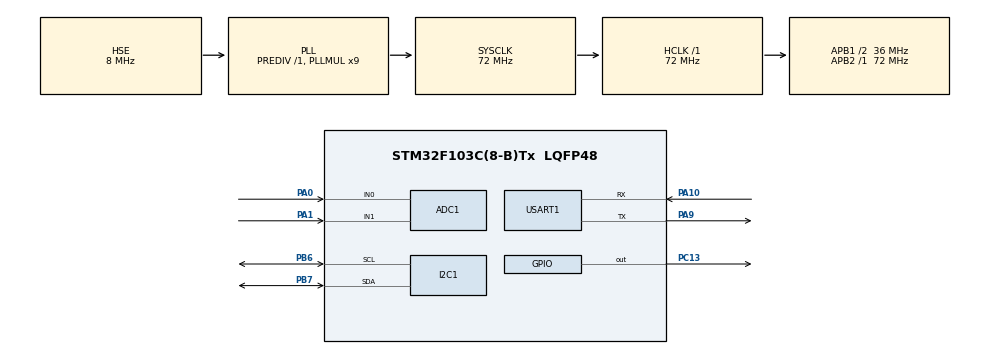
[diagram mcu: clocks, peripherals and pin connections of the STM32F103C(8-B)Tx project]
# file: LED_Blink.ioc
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ADC1.Channel-0\#ChannelRegularConversion=ADC_CHANNEL_0
ADC1.Channel-1\#ChannelRegularConversion=ADC_CHANNEL_1
ADC1.ContinuousConvMode=ENABLE
ADC1.NbrOfConversion=2
ADC1.NbrOfConversionFlag=1
ADC1.Rank-0\#ChannelRegularConversion=1
ADC1.Rank-1\#ChannelRegularConversion=2
ADC1.SamplingTime-0\#ChannelRegularConversion=ADC_SAMPLETIME_1CYCLE_5
ADC1.SamplingTime-1\#ChannelRegularConversion=ADC_SAMPLETIME_1CYCLE_5
ADC1.master=1
Mcu.Family=STM32F1
Mcu.Name=STM32F103C(8-B)Tx
Mcu.Package=LQFP48
NVIC.PriorityGroup=NVIC_PRIORITYGROUP_4
NVIC.USART1_IRQn=true\:0\:0\:false\:false\:true\:true\:true\:true
PA0-WKUP.Signal=ADCx_IN0
PA1.Signal=ADCx_IN1
PA10.Mode=Asynchronous
PA10.Signal=USART1_RX
PA13.Mode=Serial_Wire
PA13.Signal=SYS_JTMS-SWDIO
PA14.Mode=Serial_Wire
PA14.Signal=SYS_JTCK-SWCLK
PA9.Mode=Asynchronous
PA9.Signal=USART1_TX
PB6.Mode=I2C
PB6.Signal=I2C1_SCL
PB7.Mode=I2C
PB7.Signal=I2C1_SDA
PC13-TAMPER-RTC.Signal=GPIO_Output
PD0-OSC_IN.Mode=HSE-External-Oscillator
PD0-OSC_IN.Signal=RCC_OSC_IN
PD1-OSC_OUT.Mode=HSE-External-Oscillator
PD1-OSC_OUT.Signal=RCC_OSC_OUT
ProjectManager.HeapSize=0x200
ProjectManager.StackSize=0x400
ProjectManager.TargetToolchain=STM32CubeIDE
RCC.AHBFreq_Value=72000000
RCC.APB1CLKDivider=RCC_HCLK_DIV2
RCC.APB1Freq_Value=36000000
RCC.APB1TimFreq_Value=72000000
RCC.APB2Freq_Value=72000000
RCC.APB2TimFreq_Value=72000000
RCC.HCLKFreq_Value=72000000
RCC.PLLMUL=RCC_PLL_MUL9
RCC.PLLSourceVirtual=RCC_PLLSOURCE_HSE
RCC.SYSCLKFreq_VALUE=72000000
RCC.SYSCLKSource=RCC_SYSCLKSOURCE_PLLCLK
RCC.USBFreq_Value=72000000
SH.ADCx_IN0.0=ADC1_IN0,IN0
SH.ADCx_IN1.0=ADC1_IN1,IN1
USART1.VirtualMode=VM_ASYNC
board=custom

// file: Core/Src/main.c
/* USER CODE BEGIN Header */
/**
  ******************************************************************************
  * @file           : main.c
  * @brief          : Main program body
  ******************************************************************************
  * @attention
  *
  * Copyright (c) 2026 STMicroelectronics.
  * All rights reserved.
  *
  * This software is licensed under terms that can be found in the LICENSE file
  * in the root directory of this software component.
  * If no LICENSE file comes with this software, it is provided AS-IS.
  *
  ******************************************************************************
  */
/* USER CODE END Header */
#include "main.h"
#include "Drivers/OLED/oled.h"
#include "Drivers/ADC/adc.h"
#include "Drivers/MPU6050/MPU6050.h"
/* USER CODE BEGIN Includes */
#include <stdio.h>
#include <string.h>
#include <math.h>

/* USER CODE END Includes */

ADC_HandleTypeDef hadc1;

I2C_HandleTypeDef hi2c1;

UART_HandleTypeDef huart1;

/* USER CODE BEGIN PV */
uint8_t oled_addr=0x3C; //OLED位址
#define RB_SIZE 64
volatile uint8_t rb_buffer[RB_SIZE];
volatile uint16_t rb_head=0;
volatile uint16_t rb_tail=0;
volatile uint16_t rb_count=0;
uint8_t rx_buffer=0;
int16_t gyro_bias_x=0;
int16_t gyro_bias_y=0;
int16_t gyro_bias_z=0;
/* USER CODE END PV */

void SystemClock_Config(void);
static void MX_GPIO_Init(void);
static void MX_I2C1_Init(void);
static void MX_ADC1_Init(void);
static void MX_USART1_UART_Init(void);
/* USER CODE BEGIN PFP */

void MPU6050_ReadAccel(int16_t *ax, int16_t *ay, int16_t *az);
void MPU6050_ReadGyro(int16_t *gx, int16_t *gy, int16_t *gz);
/* USER CODE END PFP */

/* USER CODE BEGIN 0 */
#define PI 3.14159265f
/*互補濾波*/
#define DT 0.01f
#define ALPHA 0.98f
float roll=0.0f;
float pitch=0.0f;
/*互補濾波*/

volatile uint8_t uart_tx_done = 1;
void HAL_UART_TxCpltCallback(UART_HandleTypeDef *huart)
{
	 if (huart->Instance == USART1)
	    {
	        uart_tx_done = 1;  // 傳送完成，標記為空閒
	    }
}

void UART_SendString(char *str)
	    {
	if (uart_tx_done)  // 只有空閒時才送
	{
		uart_tx_done=0;
	    HAL_UART_Transmit_IT(&huart1, (uint8_t*)str, strlen(str));

	}
	    }

void RB_Push(uint8_t data){
	if(rb_count<RB_SIZE){
		rb_buffer[rb_tail]=data;
		rb_tail=(rb_tail+1)&(RB_SIZE-1);
		rb_count++;
	}
}

int RB_Pop(uint8_t *data){

	if(rb_count>0){
		*data=rb_buffer[rb_head];
		rb_head=(rb_head+1)&(RB_SIZE-1);
		rb_count--;
		return 1;
	}
	return 0;
}

/* USER CODE END 0 */

int main(void)
{

  /* MCU Configuration--------------------------------------------------------*/

  /* Reset of all peripherals, Initializes the Flash interface and the Systick. */
  HAL_Init();

  /* Configure the system clock */
  SystemClock_Config();

  /* Initialize all configured peripherals */
  MX_GPIO_Init();
  MX_I2C1_Init();
  MX_ADC1_Init();
  MX_USART1_UART_Init();
  /* USER CODE BEGIN 2 */

  if (oled_addr != 0xFF)
  {
      OLED_Init();           // 初始化 OLED

   HAL_GPIO_WritePin(GPIOC, GPIO_PIN_13, GPIO_PIN_RESET);
        HAL_Delay(100);
        HAL_GPIO_WritePin(GPIOC, GPIO_PIN_13, GPIO_PIN_SET);
        HAL_Delay(100);
      HAL_GPIO_WritePin(GPIOC, GPIO_PIN_13, GPIO_PIN_RESET);
        HAL_Delay(100);
   HAL_GPIO_WritePin(GPIOC, GPIO_PIN_13, GPIO_PIN_SET);

        // ★ 清除後閃3下代表清除完成
        for (int i=0; i<3; i++)
        {
      //      HAL_GPIO_WritePin(GPIOC, GPIO_PIN_13, GPIO_PIN_RESET);
            HAL_Delay(200);
          //  HAL_GPIO_WritePin(GPIOC, GPIO_PIN_13, GPIO_PIN_SET);
            HAL_Delay(200);
        }

      OLED_Clear();          //清除螢幕全暗
  }

  __HAL_UART_ENABLE_IT(&huart1, UART_IT_RXNE);   // 啟用接收中斷
  HAL_NVIC_SetPriority(USART1_IRQn, 1, 0);       // 設定優先級（1，低於 EXTI0）
  HAL_NVIC_EnableIRQ(USART1_IRQn);               // 在 NVIC 中啟用 USART1 中斷
  HAL_UART_Receive_IT(&huart1, &rx_buffer, 1);   // 啟動接收

  // ===  I2C 掃描器（UART 版） ===
  char scan_msg[50];
  UART_SendString("\r\n=== I2C Scanner Start ===\r\n");

  for (uint8_t addr=0x08;addr<=0x77;addr++)
  {
      // HAL 的地址要左移 1 位（7-bit 轉 8-bit）
      if (HAL_I2C_IsDeviceReady(&hi2c1,(addr<<1),1,100)==HAL_OK)
      {
          sprintf(scan_msg,"Device found at 0x%02X\r\n",addr);
          UART_SendString(scan_msg);
      }
  }
  //   I2C 掃描器（結束） //
  //   讀取who am I 喚醒 MPU6050  //

  uint8_t who_am_i = 0;

  HAL_I2C_Mem_Read(&hi2c1, 0x68 << 1, 0x75, I2C_MEMADD_SIZE_8BIT, &who_am_i, 1, 100);

  sprintf(scan_msg, "WHO_AM_I = 0x%02X\r\n", who_am_i);
  UART_SendString(scan_msg);

  if (who_am_i == 0x68)
  {
      UART_SendString("MPU6050 found! (WHO_AM_I correct)\r\n");

      //  加入延遲，讓晶片穩定
      HAL_Delay(100);

      // 喚醒 MPU6050
      uint8_t wake_cmd = 0x00;
      HAL_StatusTypeDef status = HAL_I2C_Mem_Write(&hi2c1, 0x68 << 1, 0x6B, I2C_MEMADD_SIZE_8BIT, &wake_cmd, 1, 100);

      // 檢查寫入是否成功
      if (status == HAL_OK)
      {
          UART_SendString("MPU6050 woken up! (write success)\r\n");
      }
      else
      {
          UART_SendString("MPU6050 wake up FAILED! (I2C error)\r\n");
      }
  }
  else
  {
      UART_SendString("MPU6050 NOT found! (WHO_AM_I error)\r\n");
  }
//  讀取who am I 喚醒 MPU6050結束 //
  //  原本的 OLED 初始化 //
  if (oled_addr != 0xFF)
  {
      OLED_Init();    // 初始化 OLED
  }

/* 陀螺儀校準 */
  UART_SendString("Calibrating Gyro...\r\n");
  MPU6050_CalibrateGyro();
  UART_SendString("Calibration Done!\r\n");
  /* 陀螺儀校準 */
  /* USER CODE END 2 */

  /* Infinite loop */
  while (1)
  {

    /* USER CODE BEGIN 3 */
/* ADC彙整 */
	  uint32_t light_adc=ADC_Read_Channel(ADC_CHANNEL_0);

/*     光敏/熱敏      */
	    uint32_t temp_adc=ADC_Read_Channel(ADC_CHANNEL_1);
	      float temperature=Thermistor_GetTemperature(temp_adc);

  /* ADC彙整 */
  /* TTL  */

 uint8_t received_byte;
   if (RB_Pop(&received_byte))
   {
       // ★ 加入這 4 行：成功取出資料時，LED 閃爍 2 下
       for (int i = 0; i < 2; i++)
       {
           HAL_GPIO_TogglePin(GPIOC, GPIO_PIN_13);
           HAL_Delay(100);
       }

       // 把資料傳回去（Echo）
       HAL_UART_Transmit(&huart1, &received_byte, 1, 100);
   }
   /* TTL  */
   /*   MPU6050   */
   int16_t ax,ay,az,gx,gy,gz;

   MPU6050_ReadAccel(&ax,&ay,&az);
   MPU6050_ReadGyro(&gx,&gy,&gz);

  /*   MPU6050互補濾波   */

  //換算
float ax_g=ax/16384.0f;
float ay_g=ay/16384.0f;
float az_g=az/16384.0f;

  //陀螺儀
float gyro_x=(gx-gyro_bias_x)/131.0f;
float gyro_y=(gy-gyro_bias_y)/131.0f;
float gyro_z=(gz-gyro_bias_z)/131.0f;
(void)gyro_z;
//加速度計算角度
float accel_roll=atan2(ay_g,az_g)*180.0f/PI;
float accel_pitch=atan2(-ax_g,sqrt(ay_g*ay_g+az_g*az_g))*180.0f/PI;

  //陀螺儀積分
roll+=gyro_x*DT;
pitch+=gyro_y*DT;

    //互補濾波融合
roll=ALPHA*roll+(1.0f-ALPHA)*accel_roll;
pitch=ALPHA*pitch+(1.0f-ALPHA)*accel_pitch;

//輸出
/*//PuTTY測試
  sprintf(msg,"Roll: %7.2f  Pitch: %7.2f\r\n",roll,pitch);

   UART_SendString(msg);

*///PuTTY測試
  /*   MPU6050互補濾波   */
  /*   MPU6050   */

/*OLED*/

/*//PuTTY測試
  float temper = Thermistor_GetTemperature(temp_adc);
float voltage_t = temp_adc * 3.3f / 4096.0f;
char dbg[50];
sprintf(dbg, "ADC: %d,V: %.2fV, Temp: %.1fC\r\n", temp_adc,voltage_t, temper);
UART_SendString(dbg);
*///PuTTY測試

   // 把 roll 和 pitch 拆成「整數部分」和「小數部分」
   char oled_buf[80];
   float brightness=(100-(light_adc/4096.0f)*100.0f);
   sprintf(oled_buf,"Roll: %7.2f\nPitch: %7.2f\nL:%.2f%\nT:%.1fC",roll,pitch,brightness,temperature);
   OLED_Clear();
   OLED_WriteString(oled_buf);

   HAL_Delay(100);
  }//while結尾
  /* USER CODE END 3 */
}

void SystemClock_Config(void)
{
  RCC_OscInitTypeDef RCC_OscInitStruct = {0};
  RCC_ClkInitTypeDef RCC_ClkInitStruct = {0};
  RCC_PeriphCLKInitTypeDef PeriphClkInit = {0};

  /** Initializes the RCC Oscillators according to the specified parameters
  * in the RCC_OscInitTypeDef structure.
  */
  RCC_OscInitStruct.OscillatorType = RCC_OSCILLATORTYPE_HSE;
  RCC_OscInitStruct.HSEState = RCC_HSE_ON;
  RCC_OscInitStruct.HSEPredivValue = RCC_HSE_PREDIV_DIV1;
  RCC_OscInitStruct.HSIState = RCC_HSI_ON;
  RCC_OscInitStruct.PLL.PLLState = RCC_PLL_ON;
  RCC_OscInitStruct.PLL.PLLSource = RCC_PLLSOURCE_HSE;
  RCC_OscInitStruct.PLL.PLLMUL = RCC_PLL_MUL9;
  if (HAL_RCC_OscConfig(&RCC_OscInitStruct) != HAL_OK)
  {
    Error_Handler();
  }

  /** Initializes the CPU, AHB and APB buses clocks
  */
  RCC_ClkInitStruct.ClockType = RCC_CLOCKTYPE_HCLK|RCC_CLOCKTYPE_SYSCLK
                              |RCC_CLOCKTYPE_PCLK1|RCC_CLOCKTYPE_PCLK2;
  RCC_ClkInitStruct.SYSCLKSource = RCC_SYSCLKSOURCE_PLLCLK;
  RCC_ClkInitStruct.AHBCLKDivider = RCC_SYSCLK_DIV1;
  RCC_ClkInitStruct.APB1CLKDivider = RCC_HCLK_DIV2;
  RCC_ClkInitStruct.APB2CLKDivider = RCC_HCLK_DIV1;

  if (HAL_RCC_ClockConfig(&RCC_ClkInitStruct, FLASH_LATENCY_2) != HAL_OK)
  {
    Error_Handler();
  }
  PeriphClkInit.PeriphClockSelection = RCC_PERIPHCLK_ADC;
  PeriphClkInit.AdcClockSelection = RCC_ADCPCLK2_DIV2;
  if (HAL_RCCEx_PeriphCLKConfig(&PeriphClkInit) != HAL_OK)
  {
    Error_Handler();
  }
}

static void MX_ADC1_Init(void)
{

  ADC_ChannelConfTypeDef sConfig = {0};

  /** Common config
  */
  hadc1.Instance = ADC1;
  hadc1.Init.ScanConvMode = ADC_SCAN_ENABLE;
  hadc1.Init.ContinuousConvMode = ENABLE;
  hadc1.Init.DiscontinuousConvMode = DISABLE;
  hadc1.Init.ExternalTrigConv = ADC_SOFTWARE_START;
  hadc1.Init.DataAlign = ADC_DATAALIGN_RIGHT;
  hadc1.Init.NbrOfConversion = 2;
  if (HAL_ADC_Init(&hadc1) != HAL_OK)
  {
    Error_Handler();
  }

  /** Configure Regular Channel
  */
  sConfig.Channel = ADC_CHANNEL_0;
  sConfig.Rank = ADC_REGULAR_RANK_1;
  sConfig.SamplingTime = ADC_SAMPLETIME_1CYCLE_5;
  if (HAL_ADC_ConfigChannel(&hadc1, &sConfig) != HAL_OK)
  {
    Error_Handler();
  }

  /** Configure Regular Channel
  */
  sConfig.Channel = ADC_CHANNEL_1;
  sConfig.Rank = ADC_REGULAR_RANK_2;
  if (HAL_ADC_ConfigChannel(&hadc1, &sConfig) != HAL_OK)
  {
    Error_Handler();
  }

}

static void MX_I2C1_Init(void)
{

  hi2c1.Instance = I2C1;
  hi2c1.Init.ClockSpeed = 100000;
  hi2c1.Init.DutyCycle = I2C_DUTYCYCLE_2;
  hi2c1.Init.OwnAddress1 = 0;
  hi2c1.Init.AddressingMode = I2C_ADDRESSINGMODE_7BIT;
  hi2c1.Init.DualAddressMode = I2C_DUALADDRESS_DISABLE;
  hi2c1.Init.OwnAddress2 = 0;
  hi2c1.Init.GeneralCallMode = I2C_GENERALCALL_DISABLE;
  hi2c1.Init.NoStretchMode = I2C_NOSTRETCH_DISABLE;
  if (HAL_I2C_Init(&hi2c1) != HAL_OK)
  {
    Error_Handler();
  }

}

static void MX_USART1_UART_Init(void)
{

  huart1.Instance = USART1;
  huart1.Init.BaudRate = 115200;
  huart1.Init.WordLength = UART_WORDLENGTH_8B;
  huart1.Init.StopBits = UART_STOPBITS_1;
  huart1.Init.Parity = UART_PARITY_NONE;
  huart1.Init.Mode = UART_MODE_TX_RX;
  huart1.Init.HwFlowCtl = UART_HWCONTROL_NONE;
  huart1.Init.OverSampling = UART_OVERSAMPLING_16;
  if (HAL_UART_Init(&huart1) != HAL_OK)
  {
    Error_Handler();
  }

}

static void MX_GPIO_Init(void)
{
  GPIO_InitTypeDef GPIO_InitStruct = {0};

  /* GPIO Ports Clock Enable */
  __HAL_RCC_GPIOC_CLK_ENABLE();
  __HAL_RCC_GPIOD_CLK_ENABLE();
  __HAL_RCC_GPIOA_CLK_ENABLE();
  __HAL_RCC_GPIOB_CLK_ENABLE();

  /*Configure GPIO pin Output Level */
  HAL_GPIO_WritePin(GPIOC, GPIO_PIN_13, GPIO_PIN_RESET);

  /*Configure GPIO pin : PC13 */
  GPIO_InitStruct.Pin = GPIO_PIN_13;
  GPIO_InitStruct.Mode = GPIO_MODE_OUTPUT_PP;
  GPIO_InitStruct.Pull = GPIO_NOPULL;
  GPIO_InitStruct.Speed = GPIO_SPEED_FREQ_LOW;
  HAL_GPIO_Init(GPIOC, &GPIO_InitStruct);

}

/* USER CODE BEGIN 4 */
void HAL_UART_RxCpltCallback(UART_HandleTypeDef *huart)
{
    if (huart->Instance == USART1)
    {
        // ★ 翻轉 LED
        HAL_GPIO_TogglePin(GPIOC, GPIO_PIN_13);

        // ★ 將收到的資料放入 Ring Buffer
        RB_Push(rx_buffer);

        // ★ 先「中止」先前的接收（如果有）
        HAL_UART_AbortReceive(&huart1);

        // ★ 重新啟動接收
        HAL_UART_Receive_IT(&huart1, &rx_buffer, 1);
    }
}
/* USER CODE END 4 */

void Error_Handler(void)
{
  __disable_irq();
  while (1)
  {
  }
}
